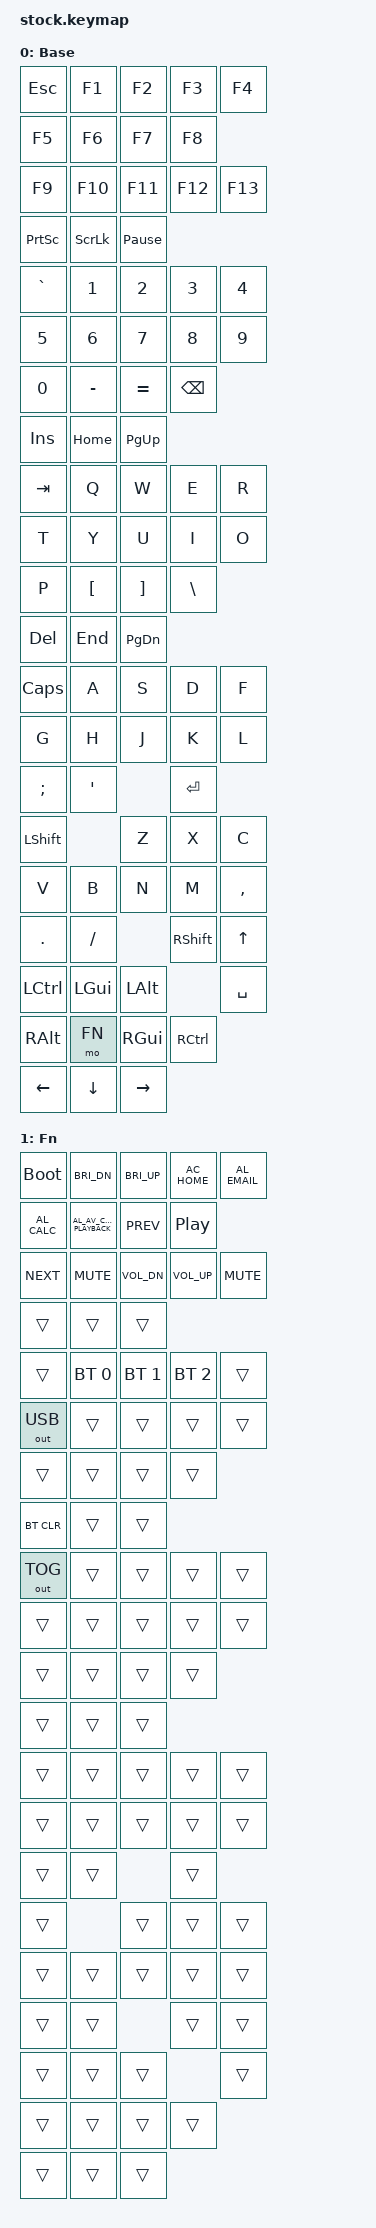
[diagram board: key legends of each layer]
/*
 * Wobkey Crush 80 — Stock QWERTY keymap
 *
 * Layer 0: Standard QWERTY with F1-F12, no home row mods
 * Layer 1: Fn — BT profiles, output toggle, RGB, bootloader
 */

#include <behaviors.dtsi>
#include <dt-bindings/zmk/keys.h>
#include <dt-bindings/zmk/bt.h>
#include <dt-bindings/zmk/outputs.h>

#define BASE 0
#define FN   1

/ {
	keymap {
		compatible = "zmk,keymap";

		default_layer {
			display-name = "Base";
			bindings = <
				/* Row 0: F-row (17 keys: Esc, F1-F12, F13, PrtSc, ScrLk, Pause) */
				&kp ESC       &kp F1        &kp F2        &kp F3        &kp F4
				&kp F5        &kp F6        &kp F7        &kp F8
				&kp F9        &kp F10       &kp F11       &kp F12       &kp F13
				&kp PSCRN     &kp SLCK      &kp PAUSE_BREAK
				/* Row 1: number row + nav cluster (17 keys) */
				&kp GRAVE     &kp N1        &kp N2        &kp N3        &kp N4
				&kp N5        &kp N6        &kp N7        &kp N8        &kp N9
				&kp N0        &kp MINUS     &kp EQUAL     &kp BSPC
				&kp INS       &kp HOME      &kp PG_UP
				/* Row 2: QWERTY + nav cluster (17 keys) */
				&kp TAB       &kp Q         &kp W         &kp E         &kp R
				&kp T         &kp Y         &kp U         &kp I         &kp O
				&kp P         &kp LBKT      &kp RBKT      &kp BSLH
				&kp DEL       &kp END       &kp PG_DN
				/* Row 3: home row (13 keys) */
				&kp CAPS      &kp A         &kp S         &kp D         &kp F
				&kp G         &kp H         &kp J         &kp K         &kp L
				&kp SEMI      &kp SQT                     &kp RET
				/* Row 4: shift row (13 keys) */
				&kp LSHFT                   &kp Z         &kp X         &kp C
				&kp V         &kp B         &kp N         &kp M         &kp COMMA
				&kp DOT       &kp FSLH                    &kp RSHFT     &kp UP
				/* Row 5: bottom row (11 keys) */
				&kp LCTRL     &kp LGUI      &kp LALT                    &kp SPACE
				&kp RALT      &mo FN        &kp RGUI      &kp RCTRL
				&kp LEFT      &kp DOWN      &kp RIGHT
			>;
		};

		fn_layer {
			display-name = "Fn";
			bindings = <
				/* Row 0: bootloader + F1-F12 shortcuts + Mute (17 keys) */
				&bootloader   &kp C_BRI_DN  &kp C_BRI_UP  &kp C_AC_HOME &kp C_AL_EMAIL
				&kp C_AL_CALC &kp C_AL_AV_CAPTURE_PLAYBACK &kp C_PREV   &kp C_PP
				&kp C_NEXT    &kp C_MUTE    &kp C_VOL_DN  &kp C_VOL_UP  &kp C_MUTE
				&trans        &trans        &trans
				/* Row 1: BT/output shortcuts + BT_CLR on Ins (17 keys) */
				&trans        &bt BT_SEL 0  &bt BT_SEL 1  &bt BT_SEL 2  &trans
				&out OUT_USB  &trans        &trans        &trans        &trans
				&trans        &trans        &trans        &trans
				&bt BT_CLR    &trans        &trans
				/* Row 2: QWERTY + nav cluster (17 keys) */
				&out OUT_TOG  &trans        &trans        &trans        &trans
				&trans        &trans        &trans        &trans        &trans
				&trans        &trans        &trans        &trans
				&trans        &trans        &trans
				/* Row 3: home row (13 keys) */
				&trans        &trans        &trans        &trans        &trans
				&trans        &trans        &trans        &trans        &trans
				&trans        &trans                      &trans
				/* Row 4: shift row (13 keys) */
				&trans                      &trans        &trans        &trans
				&trans        &trans        &trans        &trans        &trans
				&trans        &trans                      &trans        &trans
				/* Row 5: bottom row (11 keys) */
				&trans        &trans        &trans                      &trans
				&trans        &trans        &trans        &trans
				&trans        &trans        &trans
			>;
		};
	};
};
